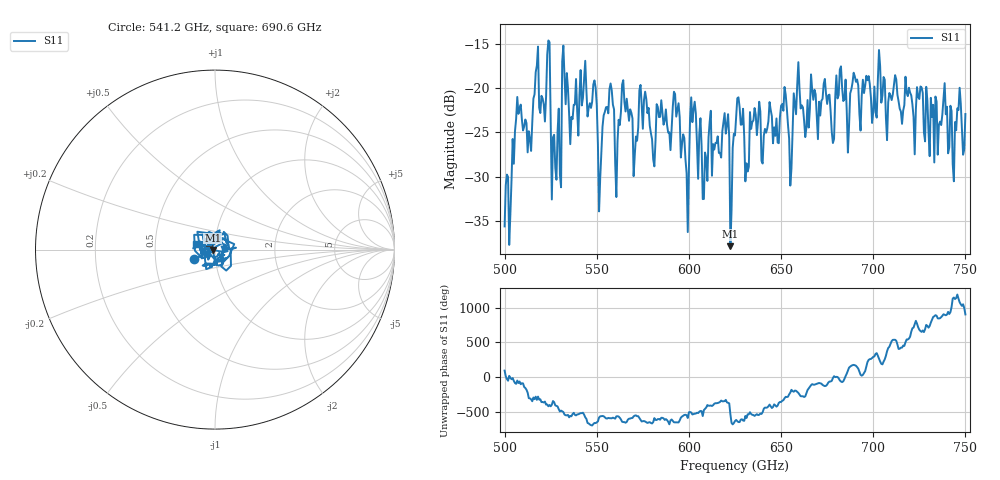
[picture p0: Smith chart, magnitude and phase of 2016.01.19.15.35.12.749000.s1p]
!Created with skrf (http://scikit-rf.org).
# GHz S RI R 50.0
!freq ReS11 ImS11
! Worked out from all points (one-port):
!   401 points, 500 GHz to 750 GHz, reference 50 ohm
!   lowest |S11| = -37.8 dB at 622.5 GHz (marker M1), VSWR 1.03, Z = 48.7 - j0.172 ohm
!   |S11| at or under -10 dB: start of sweep to end of sweep
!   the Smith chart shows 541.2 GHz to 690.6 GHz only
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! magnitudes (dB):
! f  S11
! 500 GHz  -35.6
! 507.5 GHz  -22.9
! 513.8 GHz  -25.8
! 516.9 GHz  -18.2
! 523.8 GHz  -14.6
! 526.9 GHz  -25.3
! 531.2 GHz  -17.0
! 532.5 GHz  -18.7
! 548.8 GHz  -19.2
! 551.9 GHz  -30.2
! 556.9 GHz  -20.2
! 561.2 GHz  -26.1
! 562.5 GHz  -24.2
! 571.2 GHz  -25.5
! 576.9 GHz  -21.2
! 580.6 GHz  -28.1
! 593.8 GHz  -22.5
! 598.8 GHz  -29.6
! 602.5 GHz  -22.5
! 608.8 GHz  -27.3
! 620 GHz  -25.1
! 622.5 GHz  -37.8
! 625 GHz  -25.4
! 656.2 GHz  -24.8
! 658.8 GHz  -19.7
! 687.5 GHz  -20.6
! 718.8 GHz  -20.9
! 750 GHz  -22.9
